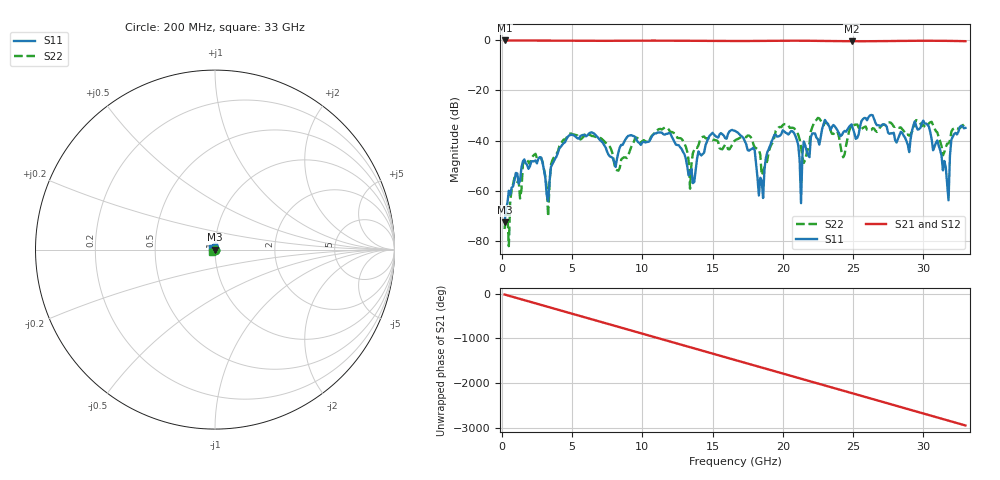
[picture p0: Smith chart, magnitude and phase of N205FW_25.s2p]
# GHZ S RI R 50
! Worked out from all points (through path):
!   329 points, 200 MHz to 33 GHz, reference 50 ohm
!   highest |S21| = -0.01 dB at 200 MHz (marker M1); lowest = -0.3 dB at 24.9 GHz (marker M2)
!   group delay of S21, straight-line fit = 248 ps
!   lowest |S11| = -72.6 dB at 200 MHz (marker M3), VSWR 1.00, Z = 50 - j0.0197 ohm
!   |S11| at or under -10 dB: start of sweep to end of sweep
!   |S22| runs from -82.2 to -30.9 dB; largest |S21 - S12| = 0.0022
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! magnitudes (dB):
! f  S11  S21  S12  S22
! 200 MHz  -72.6  0.0  0.0  -75.4
! 1.6 GHz  -47.5  0.0  0.0  -47.9
! 2.8 GHz  -46.8  -0.1  -0.1  -47.0
! 3.3 GHz  -64.1  -0.1  -0.1  -70.4
! 3.6 GHz  -49.4  -0.1  -0.1  -47.8
! 5.7 GHz  -37.9  -0.1  -0.1  -39.2
! 11.2 GHz  -36.8  -0.1  -0.1  -35.4
! 13.4 GHz  -53.1  -0.2  -0.2  -59.3
! 14.2 GHz  -46.0  -0.2  -0.2  -39.0
! 16.6 GHz  -36.1  -0.3  -0.3  -40.0
! 18.6 GHz  -63.0  -0.2  -0.2  -52.6
! 19.4 GHz  -37.8  -0.1  -0.1  -38.7
! 20.7 GHz  -36.3  -0.1  -0.1  -34.9
! 21.3 GHz  -65.0  -0.1  -0.1  -42.6
! 21.5 GHz  -40.4  -0.1  -0.1  -49.0
! 22.1 GHz  -37.2  -0.1  -0.1  -34.7
! 24.9 GHz  -33.6  -0.3  -0.3  -34.1
! 27.6 GHz  -37.3  -0.2  -0.2  -32.7
! 30.3 GHz  -33.7  -0.1  -0.1  -34.2
! 31.8 GHz  -63.9  -0.2  -0.2  -41.2
! 32 GHz  -39.7  -0.2  -0.2  -36.5
! 33 GHz  -35.0  -0.3  -0.3  -33.3
